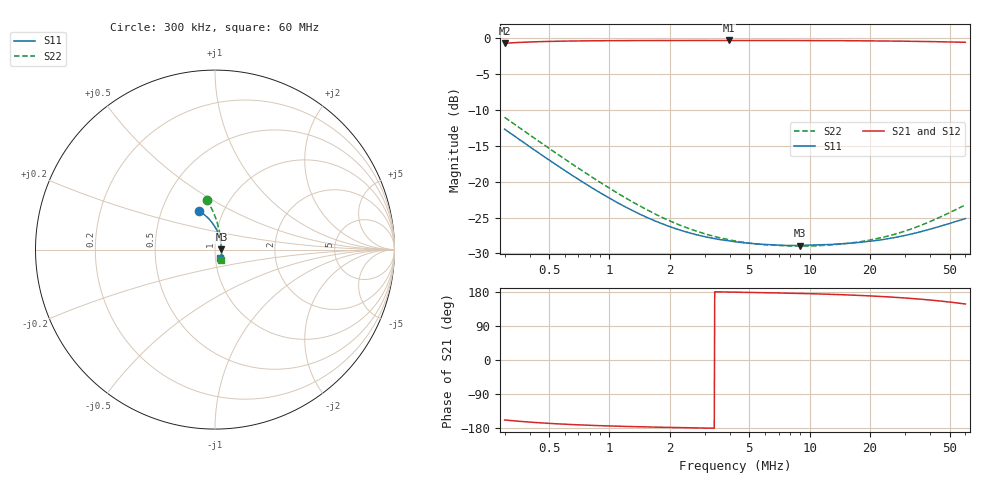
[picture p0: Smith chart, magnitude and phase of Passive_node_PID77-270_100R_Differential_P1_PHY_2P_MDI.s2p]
! TOUCHSTONE file generated by CST DESIGN STUDIO
! Date and time: Tue May 12 12:11:04 2026
! Project name: C:\sim_local\10base-t1m\passive_node_simulations_nostub.cst
! Tree item: Tasks\SPara1\S-Parameters
! Header version: 2024
! Port assignment regex: !\s*Touchstone port\s*([0-9]+)\s*=\s*(CST MWS port|CST DES external port|CST DES block port)\s*(.+)\s* \(\"(.*)\"\)(\s*mode\s*([0-9]+))?.*
! Touchstone port assignment:
! Touchstone port 1 = CST DES external port 1 ("PHY")
! Touchstone port 2 = CST DES external port 2 ("MDI")
# MHz S MA R 100
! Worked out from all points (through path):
!   1001 points, 300 kHz to 60 MHz, reference 100 ohm
!   highest |S21| = -0.31 dB at 3.939 MHz (marker M1); lowest = -0.7 dB at 300 kHz (marker M2)
!   lowest |S11| = -28.9 dB at 8.955 MHz (marker M3), VSWR 1.07, Z = 107 + j0.552 ohm
!   |S11| at or under -10 dB: start of sweep to end of sweep
!   |S22| runs from -29.0 to -11.0 dB; largest |S21 - S12| = 0.00039
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0.3  0.2324 112.3  0.9228 -158.3  0.9228 -158.3  0.2812 99.5
0.3669107  0.1908 104.6  0.9373 -162.4  0.9373 -162.4  0.2308 94.8
0.4440148  0.1588 98.0  0.9464 -165.6  0.9464 -165.6  0.1917 90.7
0.5695684  0.1255 89.7  0.9541 -168.9  0.954 -168.9  0.1509 85.3
0.7267638  0.1006 81.9  0.9586 -171.5  0.9585 -171.5  0.12 79.9
1.164622  0.06834 66.4  0.963 -175.1  0.9629 -175.1  0.07929 68.2
1.424374  0.05932 59.4  0.964 -176.3  0.9639 -176.3  0.06755 62.5
1.760619  0.0521 52.0  0.9646 -177.3  0.9645 -177.3  0.05801 56.0
2.199422  0.0465 44.1  0.965 -178.3  0.965 -178.3  0.05047 48.8
2.647553  0.04314 37.7  0.9651 -179.1  0.9651 -179.1  0.04583 42.6
3.22094  0.04055 31.3  0.9652 -179.8  0.9651 -179.8  0.04215 36.0
3.939325  0.03878 25.1  0.9652 179.4  0.9651 179.4  0.03948 29.3
4.242641  0.03816 22.9  0.9651 179.1  0.9651 179.1  0.03867 27.0
6.050695  0.03652 13.4  0.9648 177.6  0.9646 177.6  0.03629 16.4
8.955328  0.03588 4.1  0.9641 175.6  0.9639 175.6  0.03555 5.7
10.27799  0.0362 -0.1  0.9633 174.9  0.963 174.9  0.03572 1.0
16.91239  0.0375 -12.2  0.9606 170.9  0.9602 170.9  0.03772 -12.8
24.89891  0.04017 -23.6  0.9565 166.4  0.9562 166.4  0.04194 -25.0
31.60288  0.04292 -32.0  0.9529 162.8  0.9526 162.8  0.0464 -33.8
40.32497  0.04683 -42.2  0.9479 158.1  0.9476 158.1  0.05303 -43.7
49.05826  0.05077 -51.4  0.943 153.5  0.9428 153.5  0.06007 -52.3
60  0.05535 -61.7  0.9371 147.7  0.9368 147.7  0.06894 -61.6
